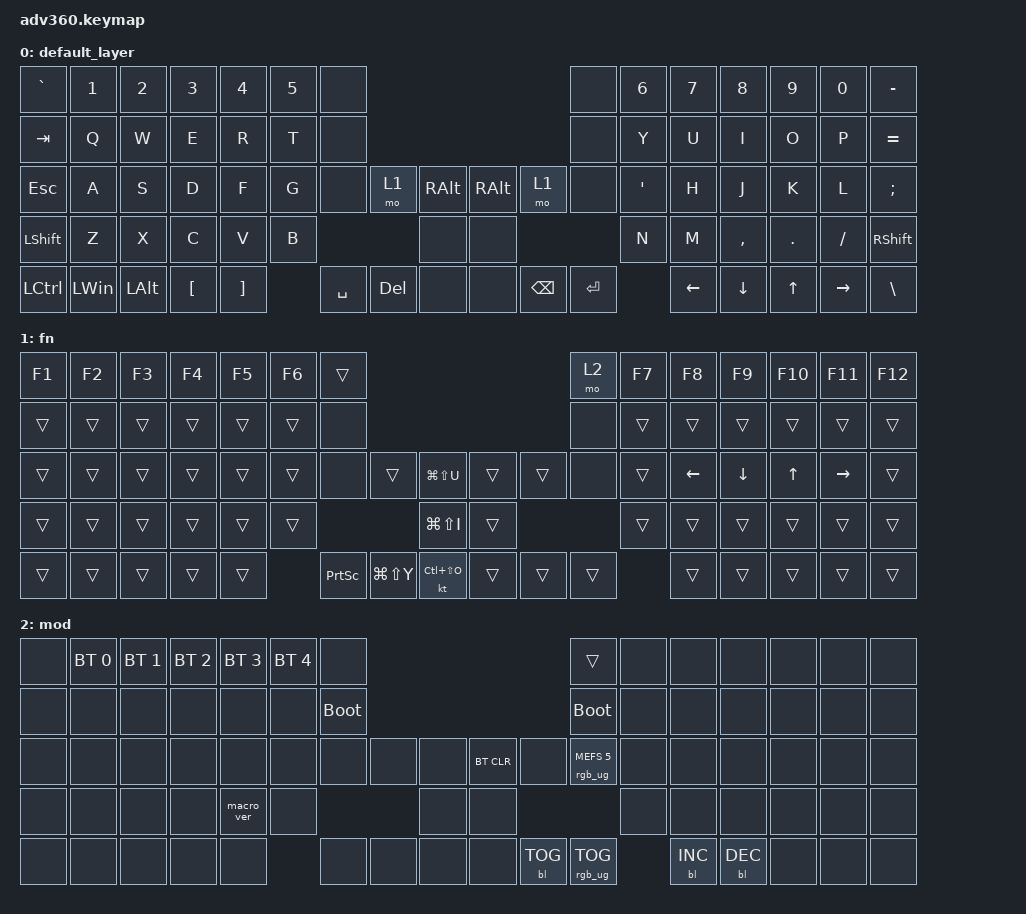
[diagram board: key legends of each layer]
#include <dt-bindings/zmk/stp.h>
#include <behaviors.dtsi>
#include <dt-bindings/zmk/backlight.h>
#include <dt-bindings/zmk/bt.h>
#include <dt-bindings/zmk/keys.h>
#include <dt-bindings/zmk/rgb.h>

/ {
    behaviors {
        #include "macros.dtsi"
      #include "version.dtsi"

        hm: homerow_mods {
            compatible = "zmk,behavior-hold-tap";
            label = "HOMEROW_MODS";
            #binding-cells = <2>;
            tapping-term-ms = <200>;
            quick_tap_ms = <175>;
            flavor = "tap-preferred";
            bindings = <&kp>, <&kp>;
        };
    };

    keymap {
        compatible = "zmk,keymap";

        default_layer {
            bindings = <
&kp GRAVE  &kp N1    &kp N2    &kp N3            &kp N4             &kp N5  &none                                                      &none      &kp N6   &kp N7          &kp N8          &kp N9        &kp N0           &kp MINUS
&kp TAB    &kp Q     &kp W     &kp E             &kp R              &kp T   &none                                                      &none      &kp Y    &kp U           &kp I           &kp O         &kp P            &kp EQUAL
&kp ESC    &kp A     &kp S     &kp D             &kp F              &kp G   &none      &mo 1    &kp RALT      &kp RALT  &mo 1          &none      &kp SQT  &kp H           &kp J           &kp K         &kp L            &kp SEMICOLON
&kp LSHFT  &kp Z     &kp X     &kp C             &kp V              &kp B                       &none         &none                               &kp N    &kp M           &kp COMMA       &kp DOT       &kp FSLH         &kp RSHFT
&kp LCTRL  &kp LWIN  &kp LALT  &kp LEFT_BRACKET  &kp RIGHT_BRACKET          &kp SPACE  &kp DEL  &none         &none     &kp BACKSPACE  &kp ENTER           &kp LEFT_ARROW  &kp DOWN_ARROW  &kp UP_ARROW  &kp RIGHT_ARROW  &kp BACKSLASH
            >;
        };

        fn {
            bindings = <
&kp F1  &kp F2  &kp F3  &kp F4  &kp F5  &kp F6  &trans                                                             &mo 2   &kp F7  &kp F8          &kp F9          &kp F10       &kp F11          &kp F12
&trans  &trans  &trans  &trans  &trans  &trans  &none                                                              &none   &trans  &trans          &trans          &trans        &trans           &trans
&trans  &trans  &trans  &trans  &trans  &trans  &none            &trans         &kp LG(LS(U))      &trans  &trans  &none   &trans  &kp LEFT_ARROW  &kp DOWN_ARROW  &kp UP_ARROW  &kp RIGHT_ARROW  &trans
&trans  &trans  &trans  &trans  &trans  &trans                                  &kp LG(LS(I))      &trans                  &trans  &trans          &trans          &trans        &trans           &trans
&trans  &trans  &trans  &trans  &trans          &kp PRINTSCREEN  &kp LG(LS(Y))  &kt LC(LS(O))      &trans  &trans  &trans          &trans          &trans          &trans        &trans           &trans
            >;
        };

        mod {
            bindings = <
&none  &bt BT_SEL 0  &bt BT_SEL 1  &bt BT_SEL 2  &bt BT_SEL 3  &bt BT_SEL 4  &none                                                  &trans                  &none  &none       &none       &none  &none  &none
&none  &none         &none         &none         &none         &none         &bootloader                                            &bootloader             &none  &none       &none       &none  &none  &none
&none  &none         &none         &none         &none         &none         &none        &none  &none      &bt BT_CLR  &none       &rgb_ug RGB_MEFS_CMD 5  &none  &none       &none       &none  &none  &none
&none  &none         &none         &none         &macro_ver    &none                             &none      &none                                           &none  &none       &none       &none  &none  &none
&none  &none         &none         &none         &none                       &none        &none  &none      &none       &bl BL_TOG  &rgb_ug RGB_TOG                &bl BL_INC  &bl BL_DEC  &none  &none  &none
            >;
        };

        extra3 {
            display-name = "Cyan";
            status = "reserved";
        };

        extra4 {
            display-name = "Yellow";
            status = "reserved";
        };
    };
};
